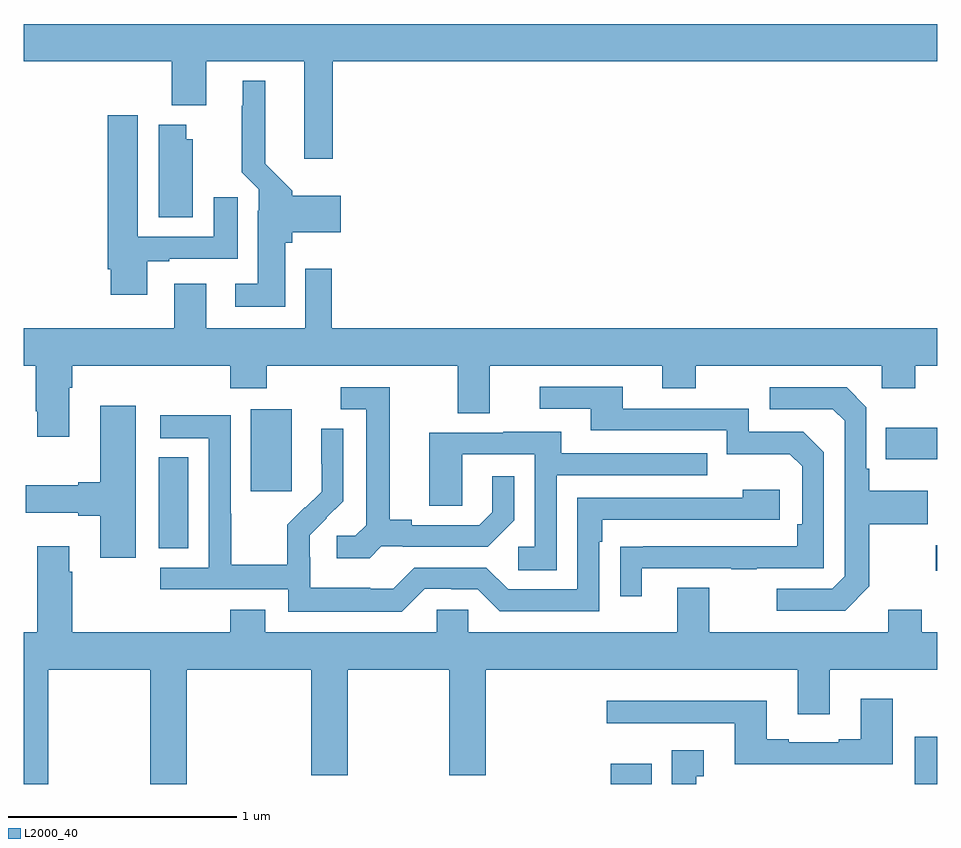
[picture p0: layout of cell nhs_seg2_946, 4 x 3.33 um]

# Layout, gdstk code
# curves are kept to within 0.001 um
import gdstk
lib = gdstk.Library(unit=1e-6, precision=1e-09)
def R(c, l, rs):  # rectangles x0, y0, x1, y1
    for r in rs: c.add(gdstk.rectangle(r[:2], r[2:], *l))
def P(c, l, *ps):  # polygons
    for p in ps: c.add(gdstk.Polygon(p, *l))
L2000_40 = (2000, 40)

nhs_seg2_946 = lib.new_cell('nhs_seg2_946')
R(nhs_seg2_946, L2000_40, [(161.57,649.8,161.749,649.888), (162.902,649.8,163,650.008), (162.993,650.733,163,650.846), (159.59,650.833,159.721,651.23), (159.995,651.081,160.174,651.442), (162.775,651.221,163,651.361)])
P(nhs_seg2_946, L2000_40, [(160.352,652.964),(163,652.964),(163,653.128),(159,653.128),(159,652.964),(159.647,652.964),(159.647,652.772),(159.799,652.772),(159.799,652.964),(160.229,652.964),(160.229,652.539),(160.352,652.539)],
  [(160.144,652.17),(160.175,652.17),(160.175,652.217),(160.387,652.217),(160.387,652.375),(160.175,652.375),(160.175,652.398),(160.057,652.516),(160.057,652.879),(159.959,652.879),(159.959,652.769),(159.955,652.769),(159.955,652.478),(160.029,652.404),(160.029,652.31),(160.025,652.31),(160.025,651.991),(159.927,651.991),(159.927,651.89),(160.144,651.89)],
  [(159.541,652.089),(159.637,652.089),(159.637,652.101),(159.937,652.101),(159.937,652.369),(159.833,652.369),(159.833,652.197),(159.499,652.197),(159.499,652.729),(159.368,652.729),(159.368,652.054),(159.38,652.054),(159.38,651.942),(159.541,651.942)],
  [(159.739,652.623),(159.712,652.623),(159.712,652.687),(159.59,652.687),(159.59,652.282),(159.739,652.282)],
  [(159.199,651.536),(159.212,651.536),(159.212,651.632),(159.905,651.632),(159.905,651.533),(160.065,651.533),(160.065,651.632),(160.901,651.632),(160.901,651.424),(161.041,651.424),(161.041,651.632),(161.795,651.632),(161.795,651.533),(161.943,651.533),(161.943,651.632),(162.756,651.632),(162.756,651.533),(162.903,651.533),(162.903,651.632),(163,651.632),(163,651.796),(160.349,651.796),(160.349,652.057),(160.233,652.057),(160.233,651.796),(159.799,651.796),(159.799,651.991),(159.659,651.991),(159.659,651.796),(159,651.796),(159,651.632),(159.052,651.632),(159.052,651.433),(159.059,651.433),(159.059,651.321),(159.199,651.321)],
  [(161.707,650.745),(162.097,650.745),(162.097,650.74),(162.209,650.74),(162.209,650.745),(162.504,650.745),(162.504,651.252),(162.414,651.342),(162.174,651.342),(162.174,651.444),(161.623,651.444),(161.623,651.54),(161.259,651.54),(161.259,651.444),(161.483,651.444),(161.483,651.348),(162.078,651.348),(162.078,651.245),(162.355,651.245),(162.408,651.192),(162.408,650.938),(162.388,650.938),(162.388,650.841),(161.611,650.84),(161.611,650.622),(161.707,650.622)],
  [(160.566,650.841),(160.66,650.841),(160.66,650.838),(161.032,650.838),(161.148,650.954),(161.148,651.148),(161.051,651.148),(161.051,650.991),(160.994,650.934),(160.699,650.934),(160.699,650.957),(160.603,650.957),(160.603,651.537),(160.389,651.537),(160.389,651.441),(160.499,651.441),(160.499,650.933),(160.452,650.886),(160.371,650.886),(160.371,650.789),(160.514,650.789)],
  [(162.703,650.665),(162.703,650.938),(162.959,650.938),(162.959,651.085),(162.703,651.085),(162.703,651.181),(162.69,651.181),(162.69,651.45),(162.603,651.537),(162.267,651.537),(162.267,651.441),(162.543,651.441),(162.594,651.39),(162.594,650.709),(162.54,650.655),(162.297,650.655),(162.297,650.559),(162.597,650.559)],
  [(159.49,651.457),(159.335,651.457),(159.335,651.122),(159.239,651.122),(159.239,651.109),(159.009,651.109),(159.009,650.987),(159.239,650.987),(159.239,650.975),(159.335,650.975),(159.335,650.79),(159.49,650.79)],
  [(160.755,650.655),(160.871,650.655),(160.871,650.652),(160.989,650.652),(161.085,650.556),(161.52,650.556),(161.52,650.861),(161.533,650.861),(161.533,650.958),(162.31,650.958),(162.31,651.088),(162.149,651.088),(162.149,651.054),(161.424,651.054),(161.424,650.652),(161.121,650.652),(161.025,650.748),(160.71,650.748),(160.617,650.655),(160.517,650.655),(160.517,650.659),(160.254,650.659),(160.254,650.793),(160.252,650.793),(160.252,650.89),(160.398,651.038),(160.398,651.356),(160.302,651.356),(160.302,651.202),(160.304,651.202),(160.304,651.08),(160.233,651.009),(160.23,651.012),(160.153,650.935),(160.153,650.761),(159.909,650.761),(159.909,650.984),(159.906,650.984),(159.906,651.414),(159.597,651.414),(159.597,651.315),(159.81,651.315),(159.81,650.748),(159.597,650.748),(159.597,650.652),(160.158,650.652),(160.158,650.555),(160.655,650.555)],
  [(161.334,651.153),(161.993,651.153),(161.993,651.249),(161.353,651.249),(161.353,651.343),(161.099,651.343),(161.099,651.339),(160.775,651.339),(160.775,651.019),(160.92,651.019),(160.92,651.243),(161.238,651.243),(161.238,650.838),(161.166,650.838),(161.166,650.737),(161.334,650.737)],
  [(159.108,650.3),(159.553,650.3),(159.553,649.8),(159.713,649.8),(159.713,650.3),(160.259,650.3),(160.259,649.839),(160.419,649.839),(160.419,650.3),(160.864,650.3),(160.864,649.839),(161.024,649.839),(161.024,650.3),(162.389,650.3),(162.389,650.106),(162.529,650.106),(162.529,650.3),(163,650.3),(163,650.464),(162.933,650.464),(162.933,650.563),(162.785,650.563),(162.785,650.464),(162.001,650.464),(162.001,650.659),(161.861,650.659),(161.861,650.464),(160.947,650.464),(160.947,650.562),(160.809,650.562),(160.809,650.464),(160.057,650.464),(160.057,650.563),(159.905,650.563),(159.905,650.464),(159.212,650.464),(159.212,650.729),(159.199,650.729),(159.199,650.842),(159.059,650.842),(159.059,650.464),(159,650.464),(159,649.8),(159.108,649.8)],
  [(162.805,650.173),(162.665,650.173),(162.665,649.996),(162.569,649.996),(162.569,649.983),(162.349,649.983),(162.349,649.996),(162.253,649.996),(162.253,650.164),(161.553,650.164),(161.553,650.067),(162.113,650.067),(162.113,649.887),(162.805,649.887)],
  [(161.944,649.835),(161.977,649.835),(161.977,649.948),(161.837,649.948),(161.837,649.8),(161.944,649.8)])

lib.write_gds('nhs_seg2_946.gds')
